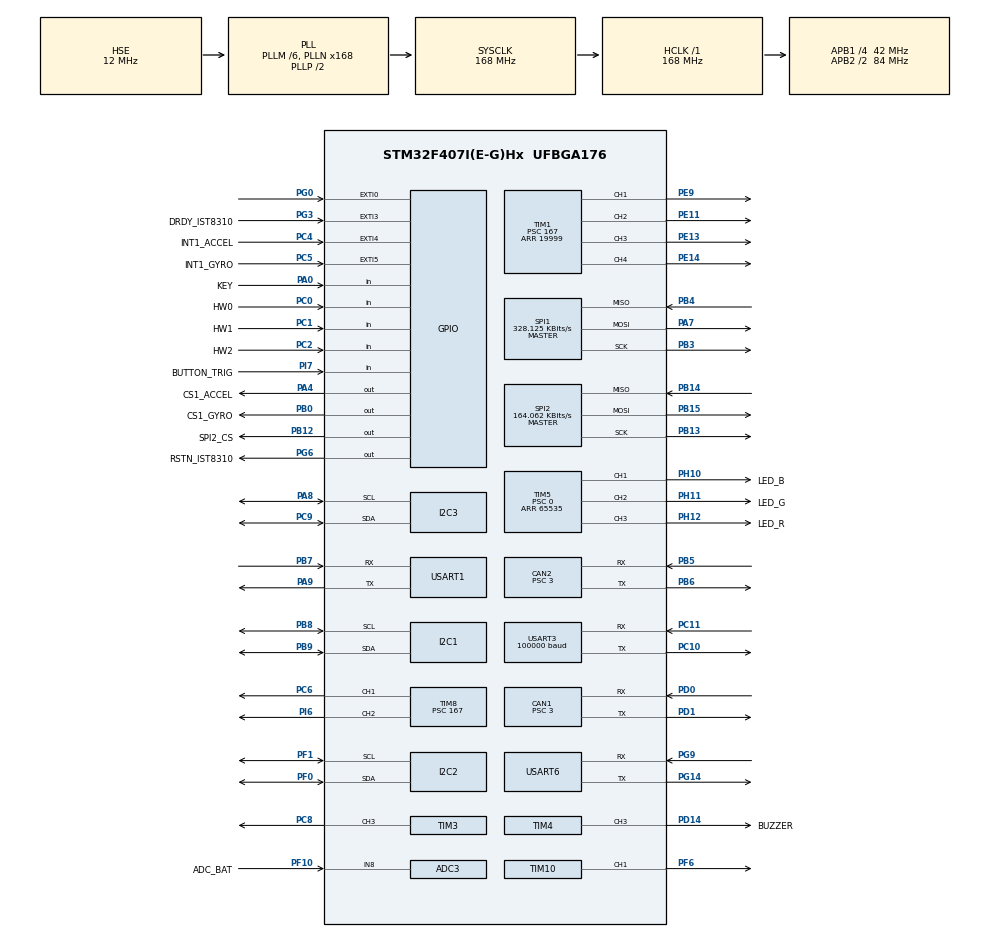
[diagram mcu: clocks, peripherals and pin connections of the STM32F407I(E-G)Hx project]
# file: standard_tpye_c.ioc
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ADC1.Channel-0\#ChannelRegularConversion=ADC_CHANNEL_TEMPSENSOR
ADC1.ClockPrescaler=ADC_CLOCK_SYNC_PCLK_DIV6
ADC1.NbrOfConversionFlag=1
ADC1.Rank-0\#ChannelRegularConversion=1
ADC1.SamplingTime-0\#ChannelRegularConversion=ADC_SAMPLETIME_3CYCLES
ADC1.master=1
ADC3.Channel-0\#ChannelRegularConversion=ADC_CHANNEL_8
ADC3.ClockPrescaler=ADC_CLOCK_SYNC_PCLK_DIV6
ADC3.NbrOfConversionFlag=1
ADC3.Rank-0\#ChannelRegularConversion=1
ADC3.SamplingTime-0\#ChannelRegularConversion=ADC_SAMPLETIME_3CYCLES
CAN1.BS1=CAN_BS1_10TQ
CAN1.BS2=CAN_BS2_3TQ
CAN1.CalculateBaudRate=1000000
CAN1.CalculateTimeBit=1000
CAN1.CalculateTimeQuantum=71.42857142857143
CAN1.Prescaler=3
CAN2.BS1=CAN_BS1_10TQ
CAN2.BS2=CAN_BS2_3TQ
CAN2.CalculateBaudRate=1000000
CAN2.CalculateTimeBit=1000
CAN2.CalculateTimeQuantum=71.42857142857143
CAN2.Prescaler=3
Dma.I2C2_TX.2.Direction=DMA_MEMORY_TO_PERIPH
Dma.I2C2_TX.2.FIFOMode=DMA_FIFOMODE_DISABLE
Dma.I2C2_TX.2.Instance=DMA1_Stream7
Dma.I2C2_TX.2.MemDataAlignment=DMA_MDATAALIGN_BYTE
Dma.I2C2_TX.2.MemInc=DMA_MINC_ENABLE
Dma.I2C2_TX.2.Mode=DMA_NORMAL
Dma.I2C2_TX.2.PeriphDataAlignment=DMA_PDATAALIGN_BYTE
Dma.I2C2_TX.2.PeriphInc=DMA_PINC_DISABLE
Dma.I2C2_TX.2.Priority=DMA_PRIORITY_HIGH
Dma.Request0=SPI1_RX
Dma.Request1=SPI1_TX
Dma.Request2=I2C2_TX
Dma.Request3=USART3_RX
Dma.Request4=USART6_RX
Dma.Request5=USART6_TX
Dma.Request6=USART1_TX
Dma.Request7=USART1_RX
Dma.SPI1_RX.0.Direction=DMA_PERIPH_TO_MEMORY
Dma.SPI1_RX.0.FIFOMode=DMA_FIFOMODE_DISABLE
Dma.SPI1_RX.0.Instance=DMA2_Stream2
Dma.SPI1_RX.0.MemDataAlignment=DMA_MDATAALIGN_BYTE
Dma.SPI1_RX.0.MemInc=DMA_MINC_ENABLE
Dma.SPI1_RX.0.Mode=DMA_NORMAL
Dma.SPI1_RX.0.PeriphDataAlignment=DMA_PDATAALIGN_BYTE
Dma.SPI1_RX.0.PeriphInc=DMA_PINC_DISABLE
Dma.SPI1_RX.0.Priority=DMA_PRIORITY_VERY_HIGH
Dma.SPI1_TX.1.Direction=DMA_MEMORY_TO_PERIPH
Dma.SPI1_TX.1.FIFOMode=DMA_FIFOMODE_DISABLE
Dma.SPI1_TX.1.Instance=DMA2_Stream3
Dma.SPI1_TX.1.MemDataAlignment=DMA_MDATAALIGN_BYTE
Dma.SPI1_TX.1.MemInc=DMA_MINC_ENABLE
Dma.SPI1_TX.1.Mode=DMA_NORMAL
Dma.SPI1_TX.1.PeriphDataAlignment=DMA_PDATAALIGN_BYTE
Dma.SPI1_TX.1.PeriphInc=DMA_PINC_DISABLE
Dma.SPI1_TX.1.Priority=DMA_PRIORITY_HIGH
Dma.USART1_RX.7.Direction=DMA_PERIPH_TO_MEMORY
Dma.USART1_RX.7.FIFOMode=DMA_FIFOMODE_DISABLE
Dma.USART1_RX.7.Instance=DMA2_Stream5
Dma.USART1_RX.7.MemDataAlignment=DMA_MDATAALIGN_BYTE
Dma.USART1_RX.7.MemInc=DMA_MINC_ENABLE
Dma.USART1_RX.7.Mode=DMA_NORMAL
Dma.USART1_RX.7.PeriphDataAlignment=DMA_PDATAALIGN_BYTE
Dma.USART1_RX.7.PeriphInc=DMA_PINC_DISABLE
Dma.USART1_RX.7.Priority=DMA_PRIORITY_HIGH
Dma.USART1_TX.6.Direction=DMA_MEMORY_TO_PERIPH
Dma.USART1_TX.6.FIFOMode=DMA_FIFOMODE_DISABLE
Dma.USART1_TX.6.Instance=DMA2_Stream7
Dma.USART1_TX.6.MemDataAlignment=DMA_MDATAALIGN_BYTE
Dma.USART1_TX.6.MemInc=DMA_MINC_ENABLE
Dma.USART1_TX.6.Mode=DMA_NORMAL
Dma.USART1_TX.6.PeriphDataAlignment=DMA_PDATAALIGN_BYTE
Dma.USART1_TX.6.PeriphInc=DMA_PINC_DISABLE
Dma.USART1_TX.6.Priority=DMA_PRIORITY_MEDIUM
Dma.USART3_RX.3.Direction=DMA_PERIPH_TO_MEMORY
Dma.USART3_RX.3.FIFOMode=DMA_FIFOMODE_DISABLE
Dma.USART3_RX.3.Instance=DMA1_Stream1
Dma.USART3_RX.3.MemDataAlignment=DMA_MDATAALIGN_BYTE
Dma.USART3_RX.3.MemInc=DMA_MINC_ENABLE
Dma.USART3_RX.3.Mode=DMA_NORMAL
Dma.USART3_RX.3.PeriphDataAlignment=DMA_PDATAALIGN_BYTE
Dma.USART3_RX.3.PeriphInc=DMA_PINC_DISABLE
Dma.USART3_RX.3.Priority=DMA_PRIORITY_HIGH
Dma.USART6_RX.4.Direction=DMA_PERIPH_TO_MEMORY
Dma.USART6_RX.4.FIFOMode=DMA_FIFOMODE_DISABLE
Dma.USART6_RX.4.Instance=DMA2_Stream1
Dma.USART6_RX.4.MemDataAlignment=DMA_MDATAALIGN_BYTE
Dma.USART6_RX.4.MemInc=DMA_MINC_ENABLE
Dma.USART6_RX.4.Mode=DMA_NORMAL
Dma.USART6_RX.4.PeriphDataAlignment=DMA_PDATAALIGN_BYTE
Dma.USART6_RX.4.PeriphInc=DMA_PINC_DISABLE
Dma.USART6_RX.4.Priority=DMA_PRIORITY_HIGH
Dma.USART6_TX.5.Direction=DMA_MEMORY_TO_PERIPH
Dma.USART6_TX.5.FIFOMode=DMA_FIFOMODE_DISABLE
Dma.USART6_TX.5.Instance=DMA2_Stream6
Dma.USART6_TX.5.MemDataAlignment=DMA_MDATAALIGN_BYTE
Dma.USART6_TX.5.MemInc=DMA_MINC_ENABLE
Dma.USART6_TX.5.Mode=DMA_NORMAL
Dma.USART6_TX.5.PeriphDataAlignment=DMA_PDATAALIGN_BYTE
Dma.USART6_TX.5.PeriphInc=DMA_PINC_DISABLE
Dma.USART6_TX.5.Priority=DMA_PRIORITY_MEDIUM
FREERTOS.INCLUDE_eTaskGetState=1
FREERTOS.INCLUDE_pcTaskGetTaskName=1
FREERTOS.INCLUDE_uxTaskGetStackHighWaterMark=1
FREERTOS.INCLUDE_vTaskCleanUpResources=1
FREERTOS.INCLUDE_vTaskDelayUntil=1
FREERTOS.INCLUDE_xEventGroupSetBitFromISR=1
FREERTOS.INCLUDE_xQueueGetMutexHolder=1
FREERTOS.INCLUDE_xSemaphoreGetMutexHolder=1
FREERTOS.INCLUDE_xTaskAbortDelay=1
FREERTOS.INCLUDE_xTaskGetCurrentTaskHandle=1
FREERTOS.INCLUDE_xTaskGetHandle=1
FREERTOS.INCLUDE_xTimerPendFunctionCall=1
FREERTOS.Tasks01=test,24,128,test_task,As weak,NULL,Dynamic,NULL,NULL
FREERTOS.configTOTAL_HEAP_SIZE=24576
I2C1.I2C_Mode=I2C_Fast
I2C2.I2C_Mode=I2C_Fast
I2C3.I2C_Mode=I2C_Fast
Mcu.Family=STM32F4
Mcu.Name=STM32F407I(E-G)Hx
Mcu.Package=UFBGA176
NVIC.CAN1_RX0_IRQn=true\:6\:0\:true\:false\:true\:true\:true\:true\:true
NVIC.CAN2_RX0_IRQn=true\:6\:0\:true\:false\:true\:true\:true\:true\:true
NVIC.DMA1_Stream1_IRQn=true\:5\:0\:true\:false\:false\:true\:false\:false\:true
NVIC.DMA1_Stream7_IRQn=true\:5\:0\:true\:false\:false\:true\:false\:true\:true
NVIC.DMA2_Stream1_IRQn=true\:5\:0\:true\:false\:true\:true\:false\:true\:true
NVIC.DMA2_Stream2_IRQn=true\:5\:0\:true\:false\:false\:true\:false\:true\:true
NVIC.DMA2_Stream3_IRQn=true\:5\:0\:true\:false\:false\:true\:false\:true\:true
NVIC.DMA2_Stream5_IRQn=true\:5\:0\:false\:false\:true\:true\:false\:true\:true
NVIC.DMA2_Stream6_IRQn=true\:5\:0\:true\:false\:true\:true\:false\:true\:true
NVIC.DMA2_Stream7_IRQn=true\:5\:0\:true\:false\:true\:true\:false\:true\:true
NVIC.EXTI0_IRQn=true\:6\:0\:true\:false\:true\:true\:true\:true\:true
NVIC.EXTI3_IRQn=true\:5\:0\:true\:false\:true\:true\:true\:true\:true
NVIC.EXTI4_IRQn=true\:5\:0\:true\:false\:true\:true\:true\:true\:true
NVIC.EXTI9_5_IRQn=true\:5\:0\:true\:false\:true\:true\:true\:true\:true
NVIC.PriorityGroup=NVIC_PRIORITYGROUP_4
NVIC.USART1_IRQn=true\:5\:0\:false\:false\:true\:true\:true\:true\:true
NVIC.USART3_IRQn=true\:4\:0\:true\:false\:false\:false\:true\:true\:true
NVIC.USART6_IRQn=true\:5\:0\:true\:false\:false\:true\:true\:true\:true
PA0-WKUP.GPIO_Label=KEY
PA0-WKUP.GPIO_PuPd=GPIO_PULLUP
PA0-WKUP.Signal=GPIO_Input
PA13.Mode=Serial_Wire
PA13.Signal=SYS_JTMS-SWDIO
PA14.Mode=Serial_Wire
PA14.Signal=SYS_JTCK-SWCLK
PA4.GPIO_Label=CS1_ACCEL
PA4.GPIO_PuPd=GPIO_PULLUP
PA4.GPIO_Speed=GPIO_SPEED_FREQ_HIGH
PA4.PinState=GPIO_PIN_SET
PA4.Signal=GPIO_Output
PA7.GPIO_PuPd=GPIO_PULLUP
PA7.Mode=Full_Duplex_Master
PA7.Signal=SPI1_MOSI
PA8.GPIO_Pu=GPIO_PULLUP
PA8.Mode=I2C
PA8.Signal=I2C3_SCL
PA9.Mode=Asynchronous
PA9.Signal=USART1_TX
PB0.GPIO_Label=CS1_GYRO
PB0.GPIO_PuPd=GPIO_PULLUP
PB0.GPIO_Speed=GPIO_SPEED_FREQ_HIGH
PB0.PinState=GPIO_PIN_SET
PB0.Signal=GPIO_Output
PB12.GPIO_Label=SPI2_CS
PB12.GPIO_PuPd=GPIO_PULLUP
PB12.GPIO_Speed=GPIO_SPEED_FREQ_MEDIUM
PB12.PinState=GPIO_PIN_SET
PB12.Signal=GPIO_Output
PB13.GPIO_PuPd=GPIO_PULLUP
PB13.Mode=Full_Duplex_Master
PB13.Signal=SPI2_SCK
PB14.GPIO_PuPd=GPIO_PULLUP
PB14.Mode=Full_Duplex_Master
PB14.Signal=SPI2_MISO
PB15.GPIO_PuPd=GPIO_PULLUP
PB15.Mode=Full_Duplex_Master
PB15.Signal=SPI2_MOSI
PB3.GPIO_PuPd=GPIO_PULLUP
PB3.Mode=Full_Duplex_Master
PB3.Signal=SPI1_SCK
PB4.GPIO_PuPd=GPIO_PULLUP
PB4.Mode=Full_Duplex_Master
PB4.Signal=SPI1_MISO
PB5.Mode=CAN_Activate
PB5.Signal=CAN2_RX
PB6.Mode=CAN_Activate
PB6.Signal=CAN2_TX
PB7.Mode=Asynchronous
PB7.Signal=USART1_RX
PB8.GPIO_Pu=GPIO_PULLUP
PB8.Mode=I2C
PB8.Signal=I2C1_SCL
PB9.GPIO_Pu=GPIO_PULLUP
PB9.Mode=I2C
PB9.Signal=I2C1_SDA
PC0.GPIO_Label=HW0
PC0.Signal=GPIO_Input
PC1.GPIO_Label=HW1
PC1.Signal=GPIO_Input
PC10.Mode=Asynchronous
PC10.Signal=USART3_TX
PC11.Mode=Asynchronous
PC11.Signal=USART3_RX
PC2.GPIO_Label=HW2
PC2.Signal=GPIO_Input
PC4.GPIO_Label=INT1_ACCEL
PC4.GPIO_ModeDefaultEXTI=GPIO_MODE_IT_FALLING
PC4.GPIO_PuPd=GPIO_PULLUP
PC4.Signal=GPXTI4
PC5.GPIO_Label=INT1_GYRO
PC5.GPIO_ModeDefaultEXTI=GPIO_MODE_IT_FALLING
PC5.GPIO_PuPd=GPIO_PULLUP
PC5.Signal=GPXTI5
PC6.GPIO_PuPd=GPIO_PULLUP
PC6.GPIO_Speed=GPIO_SPEED_FREQ_HIGH
PC6.Signal=S_TIM8_CH1
PC8.GPIO_PuPd=GPIO_PULLUP
PC8.GPIO_Speed=GPIO_SPEED_FREQ_HIGH
PC8.Signal=S_TIM3_CH3
PC9.GPIO_Pu=GPIO_PULLUP
PC9.Mode=I2C
PC9.Signal=I2C3_SDA
PD0.Mode=CAN_Activate
PD0.Signal=CAN1_RX
PD1.Mode=CAN_Activate
PD1.Signal=CAN1_TX
PD14.GPIO_Label=BUZZER
PD14.GPIO_PuPd=GPIO_PULLUP
PD14.GPIO_Speed=GPIO_SPEED_FREQ_VERY_HIGH
PD14.Signal=S_TIM4_CH3
PE11.GPIO_PuPd=GPIO_PULLUP
PE11.GPIO_Speed=GPIO_SPEED_FREQ_HIGH
PE11.Signal=S_TIM1_CH2
PE13.GPIO_PuPd=GPIO_PULLUP
PE13.GPIO_Speed=GPIO_SPEED_FREQ_HIGH
PE13.Signal=S_TIM1_CH3
PE14.GPIO_PuPd=GPIO_PULLUP
PE14.GPIO_Speed=GPIO_SPEED_FREQ_HIGH
PE14.Signal=S_TIM1_CH4
PE9.GPIO_PuPd=GPIO_PULLUP
PE9.GPIO_Speed=GPIO_SPEED_FREQ_HIGH
PE9.Signal=S_TIM1_CH1
PF0.GPIO_Pu=GPIO_PULLUP
PF0.Mode=I2C
PF0.Signal=I2C2_SDA
PF1.GPIO_Pu=GPIO_PULLUP
PF1.Mode=I2C
PF1.Signal=I2C2_SCL
PF10.GPIO_Label=ADC_BAT
PF10.Mode=IN8
PF10.Signal=ADC3_IN8
PF6.GPIO_PuPd=GPIO_PULLUP
PF6.GPIO_Speed=GPIO_SPEED_FREQ_HIGH
PF6.Signal=S_TIM10_CH1
PG0.GPIO_ModeDefaultEXTI=GPIO_MODE_IT_FALLING
PG0.GPIO_PuPd=GPIO_PULLUP
PG0.Signal=GPXTI0
PG14.Mode=Asynchronous
PG14.Signal=USART6_TX
PG3.GPIO_Label=DRDY_IST8310
PG3.GPIO_ModeDefaultEXTI=GPIO_MODE_IT_FALLING
PG3.GPIO_PuPd=GPIO_PULLUP
PG3.Signal=GPXTI3
PG6.GPIO_Label=RSTN_IST8310
PG6.GPIO_PuPd=GPIO_PULLUP
PG6.GPIO_Speed=GPIO_SPEED_FREQ_MEDIUM
PG6.PinState=GPIO_PIN_SET
PG6.Signal=GPIO_Output
PG9.Mode=Asynchronous
PG9.Signal=USART6_RX
PH0-OSC_IN.Mode=HSE-External-Oscillator
PH0-OSC_IN.Signal=RCC_OSC_IN
PH1-OSC_OUT.Mode=HSE-External-Oscillator
PH1-OSC_OUT.Signal=RCC_OSC_OUT
PH10.GPIO_Label=LED_B
PH10.GPIO_PuPd=GPIO_PULLUP
PH10.GPIO_Speed=GPIO_SPEED_FREQ_HIGH
PH10.Signal=S_TIM5_CH1
PH11.GPIO_Label=LED_G
PH11.GPIO_PuPd=GPIO_PULLUP
PH11.GPIO_Speed=GPIO_SPEED_FREQ_HIGH
PH11.Signal=S_TIM5_CH2
PH12.GPIO_Label=LED_R
PH12.GPIO_PuPd=GPIO_PULLUP
PH12.GPIO_Speed=GPIO_SPEED_FREQ_HIGH
PH12.Signal=S_TIM5_CH3
PI6.GPIO_PuPd=GPIO_PULLUP
PI6.GPIO_Speed=GPIO_SPEED_FREQ_HIGH
PI6.Signal=S_TIM8_CH2
PI7.GPIO_Label=BUTTON_TRIG
PI7.GPIO_PuPd=GPIO_PULLUP
PI7.Signal=GPIO_Input
ProjectManager.HeapSize=0x2000
ProjectManager.StackSize=0x2000
ProjectManager.TargetToolchain=MDK-ARM V5
RCC.48MHZClocksFreq_Value=48000000
RCC.AHBFreq_Value=168000000
RCC.APB1CLKDivider=RCC_HCLK_DIV4
RCC.APB1Freq_Value=42000000
RCC.APB1TimFreq_Value=84000000
RCC.APB2CLKDivider=RCC_HCLK_DIV2
RCC.APB2Freq_Value=84000000
RCC.APB2TimFreq_Value=168000000
RCC.CortexFreq_Value=168000000
RCC.HCLKFreq_Value=168000000
RCC.HSE_VALUE=12000000
RCC.HSI_VALUE=16000000
RCC.LSE_VALUE=32768
RCC.PLLM=6
RCC.PLLN=168
RCC.PLLQ=7
RCC.PLLSourceVirtual=RCC_PLLSOURCE_HSE
RCC.RCC_RTC_Clock_SourceVirtual=RCC_RTCCLKSOURCE_HSE_DIV30
RCC.RCC_RTC_Clock_Source_FROM_HSE=RCC_RTCCLKSOURCE_HSE_DIV30
RCC.SYSCLKFreq_VALUE=168000000
RCC.SYSCLKSource=RCC_SYSCLKSOURCE_PLLCLK
RCC.VCOOutputFreq_Value=336000000
RTC.AsynchPrediv=124
RTC.SynchPrediv=3199
SH.S_TIM10_CH1.0=TIM10_CH1,PWM Generation1 CH1
SH.S_TIM1_CH1.0=TIM1_CH1,PWM Generation1 CH1
SH.S_TIM1_CH2.0=TIM1_CH2,PWM Generation2 CH2
SH.S_TIM1_CH3.0=TIM1_CH3,PWM Generation3 CH3
SH.S_TIM1_CH4.0=TIM1_CH4,PWM Generation4 CH4
SH.S_TIM3_CH3.0=TIM3_CH3,PWM Generation3 CH3
SH.S_TIM4_CH3.0=TIM4_CH3,PWM Generation3 CH3
SH.S_TIM5_CH1.0=TIM5_CH1,PWM Generation1 CH1
SH.S_TIM5_CH2.0=TIM5_CH2,PWM Generation2 CH2
SH.S_TIM5_CH3.0=TIM5_CH3,PWM Generation3 CH3
SH.S_TIM8_CH1.0=TIM8_CH1,PWM Generation1 CH1
SH.S_TIM8_CH2.0=TIM8_CH2,PWM Generation2 CH2
SPI1.BaudRatePrescaler=SPI_BAUDRATEPRESCALER_256
SPI1.CLKPhase=SPI_PHASE_2EDGE
SPI1.CLKPolarity=SPI_POLARITY_HIGH
SPI1.CalculateBaudRate=328.125 KBits/s
SPI1.Direction=SPI_DIRECTION_2LINES
SPI1.Mode=SPI_MODE_MASTER
SPI1.VirtualType=VM_MASTER
SPI2.BaudRatePrescaler=SPI_BAUDRATEPRESCALER_256
SPI2.CLKPhase=SPI_PHASE_2EDGE
SPI2.CLKPolarity=SPI_POLARITY_HIGH
SPI2.CalculateBaudRate=164.062 KBits/s
SPI2.Direction=SPI_DIRECTION_2LINES
SPI2.Mode=SPI_MODE_MASTER
SPI2.VirtualType=VM_MASTER
TIM1.Channel-PWM\ Generation1\ CH1=TIM_CHANNEL_1
TIM1.Channel-PWM\ Generation2\ CH2=TIM_CHANNEL_2
TIM1.Channel-PWM\ Generation3\ CH3=TIM_CHANNEL_3
TIM1.Channel-PWM\ Generation4\ CH4=TIM_CHANNEL_4
TIM1.Period=19999
TIM1.Prescaler=167
TIM1.Pulse-PWM\ Generation1\ CH1=1000
TIM1.Pulse-PWM\ Generation2\ CH2=1000
TIM1.Pulse-PWM\ Generation3\ CH3=1000
TIM1.Pulse-PWM\ Generation4\ CH4=1000
TIM10.Channel=TIM_CHANNEL_1
TIM10.Period=4999
TIM3.Channel-PWM\ Generation3\ CH3=TIM_CHANNEL_3
TIM3.Period=8399
TIM4.Channel-PWM\ Generation3\ CH3=TIM_CHANNEL_3
TIM4.Period=65535
TIM4.Prescaler=167
TIM5.Channel-PWM\ Generation1\ CH1=TIM_CHANNEL_1
TIM5.Channel-PWM\ Generation2\ CH2=TIM_CHANNEL_2
TIM5.Channel-PWM\ Generation3\ CH3=TIM_CHANNEL_3
TIM5.Period=65535
TIM5.Prescaler=0
TIM8.Channel-PWM\ Generation1\ CH1=TIM_CHANNEL_1
TIM8.Channel-PWM\ Generation2\ CH2=TIM_CHANNEL_2
TIM8.Period=19999
TIM8.Prescaler=167
TIM8.Pulse-PWM\ Generation1\ CH1=1000
TIM8.Pulse-PWM\ Generation2\ CH2=1000
USART1.VirtualMode=VM_ASYNC
USART3.BaudRate=100000
USART3.Parity=PARITY_EVEN
USART3.VirtualMode=VM_ASYNC
USART6.VirtualMode=VM_ASYNC
VP_ADC1_TempSens_Input.Mode=IN-TempSens
VP_ADC1_Vref_Input.Mode=IN-Vrefint
VP_CRC_VS_CRC.Mode=CRC_Activate
VP_FREERTOS_VS_CMSIS_V1.Mode=CMSIS_V1
VP_RNG_VS_RNG.Mode=RNG_Activate
VP_RTC_VS_RTC_Activate.Mode=RTC_Enabled
VP_TIM10_VS_ClockSourceINT.Mode=Enable_Timer
VP_TIM1_VS_ClockSourceINT.Mode=Internal
VP_TIM3_VS_ClockSourceINT.Mode=Internal
VP_TIM4_VS_ClockSourceINT.Mode=Internal
VP_TIM5_VS_ClockSourceINT.Mode=Internal
VP_TIM8_VS_ClockSourceINT.Mode=Internal
board=custom

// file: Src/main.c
/* USER CODE BEGIN Header */
/**
  ******************************************************************************
  * @file           : main.c
  * @brief          : Main program body
  ******************************************************************************
  * @attention
  *
  * Copyright (c) 2023 STMicroelectronics.
  * All rights reserved.
  *
  * This software is licensed under terms that can be found in the LICENSE file
  * in the root directory of this software component.
  * If no LICENSE file comes with this software, it is provided AS-IS.
  *
  ******************************************************************************
  */
/* USER CODE END Header */
#include "main.h"
#include "cmsis_os.h"
#include "adc.h"
#include "can.h"
#include "crc.h"
#include "dma.h"
#include "i2c.h"
#include "rng.h"
#include "rtc.h"
#include "spi.h"
#include "tim.h"
#include "usart.h"
#include "gpio.h"

/* USER CODE BEGIN Includes */
#include "bsp_can.h"
#include "bsp_delay.h"

/* USER CODE END Includes */

void SystemClock_Config(void);
void MX_FREERTOS_Init(void);

int main(void)
{

  /* MCU Configuration--------------------------------------------------------*/

  /* Reset of all peripherals, Initializes the Flash interface and the Systick. */
  HAL_Init();

  /* Configure the system clock */
  SystemClock_Config();

  /* Initialize all configured peripherals */
  MX_GPIO_Init();
  MX_DMA_Init();
  MX_ADC1_Init();
  MX_ADC3_Init();
  MX_CAN1_Init();
  MX_CAN2_Init();
  MX_I2C1_Init();
  MX_SPI1_Init();
  MX_TIM4_Init();
  MX_TIM5_Init();
  MX_USART3_UART_Init();
  MX_TIM8_Init();
  MX_CRC_Init();
  MX_RNG_Init();
  MX_I2C2_Init();
  MX_I2C3_Init();
  MX_RTC_Init();
  MX_SPI2_Init();
  MX_TIM1_Init();
  MX_TIM3_Init();
  MX_TIM10_Init();
  MX_USART1_UART_Init();
  MX_USART6_UART_Init();
  /* USER CODE BEGIN 2 */
	can_filter_init();
	delay_init();
  remote_control_init();

  /* USER CODE END 2 */

  /* Call init function for freertos objects (in freertos.c) */
  MX_FREERTOS_Init();

  /* Start scheduler */
  osKernelStart();

  /* We should never get here as control is now taken by the scheduler */
  /* Infinite loop */
  while (1)
  {

  }
}

void SystemClock_Config(void)
{
  RCC_OscInitTypeDef RCC_OscInitStruct = {0};
  RCC_ClkInitTypeDef RCC_ClkInitStruct = {0};

  /** Configure the main internal regulator output voltage
  */
  __HAL_RCC_PWR_CLK_ENABLE();
  __HAL_PWR_VOLTAGESCALING_CONFIG(PWR_REGULATOR_VOLTAGE_SCALE1);

  /** Initializes the RCC Oscillators according to the specified parameters
  * in the RCC_OscInitTypeDef structure.
  */
  RCC_OscInitStruct.OscillatorType = RCC_OSCILLATORTYPE_HSE;
  RCC_OscInitStruct.HSEState = RCC_HSE_ON;
  RCC_OscInitStruct.PLL.PLLState = RCC_PLL_ON;
  RCC_OscInitStruct.PLL.PLLSource = RCC_PLLSOURCE_HSE;
  RCC_OscInitStruct.PLL.PLLM = 6;
  RCC_OscInitStruct.PLL.PLLN = 168;
  RCC_OscInitStruct.PLL.PLLP = RCC_PLLP_DIV2;
  RCC_OscInitStruct.PLL.PLLQ = 7;
  if (HAL_RCC_OscConfig(&RCC_OscInitStruct) != HAL_OK)
  {
    Error_Handler();
  }

  /** Initializes the CPU, AHB and APB buses clocks
  */
  RCC_ClkInitStruct.ClockType = RCC_CLOCKTYPE_HCLK|RCC_CLOCKTYPE_SYSCLK
                              |RCC_CLOCKTYPE_PCLK1|RCC_CLOCKTYPE_PCLK2;
  RCC_ClkInitStruct.SYSCLKSource = RCC_SYSCLKSOURCE_PLLCLK;
  RCC_ClkInitStruct.AHBCLKDivider = RCC_SYSCLK_DIV1;
  RCC_ClkInitStruct.APB1CLKDivider = RCC_HCLK_DIV4;
  RCC_ClkInitStruct.APB2CLKDivider = RCC_HCLK_DIV2;

  if (HAL_RCC_ClockConfig(&RCC_ClkInitStruct, FLASH_LATENCY_5) != HAL_OK)
  {
    Error_Handler();
  }
}

void Error_Handler(void)
{
  __disable_irq();
  while (1)
  {
  }
}

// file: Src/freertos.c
/* USER CODE BEGIN Header */
/**
  ******************************************************************************
  * File Name          : freertos.c
  * Description        : Code for freertos applications
  ******************************************************************************
  * @attention
  *
  * Copyright (c) 2023 STMicroelectronics.
  * All rights reserved.
  *
  * This software is licensed under terms that can be found in the LICENSE file
  * in the root directory of this software component.
  * If no LICENSE file comes with this software, it is provided AS-IS.
  *
  ******************************************************************************
  */
/* USER CODE END Header */

#include "FreeRTOS.h"
#include "task.h"
#include "main.h"
#include "cmsis_os.h"

/* USER CODE BEGIN Includes */
#include "chassis_task.h"
#include "gimbal_task.h"
#include "INS_task.h"
#include "referee_task.h"
#include "shoot.h"
/* USER CODE END Includes */

/* USER CODE BEGIN PTD */
osThreadId chassisTaskHandle;
osThreadId imuTaskHandle;
osThreadId gimbalTaskHandle;
osThreadId referee_usart_task_handle;
osThreadId shootTaskHandle;

/* USER CODE END PTD */

osThreadId testHandle;

void test_task(void const * argument);

void MX_FREERTOS_Init(void); /* (MISRA C 2004 rule 8.1) */

/* GetIdleTaskMemory prototype (linked to static allocation support) */
void vApplicationGetIdleTaskMemory( StaticTask_t **ppxIdleTaskTCBBuffer, StackType_t **ppxIdleTaskStackBuffer, uint32_t *pulIdleTaskStackSize );

/* GetTimerTaskMemory prototype (linked to static allocation support) */
void vApplicationGetTimerTaskMemory( StaticTask_t **ppxTimerTaskTCBBuffer, StackType_t **ppxTimerTaskStackBuffer, uint32_t *pulTimerTaskStackSize );

/* USER CODE BEGIN GET_IDLE_TASK_MEMORY */
static StaticTask_t xIdleTaskTCBBuffer;
static StackType_t xIdleStack[configMINIMAL_STACK_SIZE];

void vApplicationGetIdleTaskMemory( StaticTask_t **ppxIdleTaskTCBBuffer, StackType_t **ppxIdleTaskStackBuffer, uint32_t *pulIdleTaskStackSize )
{
  *ppxIdleTaskTCBBuffer = &xIdleTaskTCBBuffer;
  *ppxIdleTaskStackBuffer = &xIdleStack[0];
  *pulIdleTaskStackSize = configMINIMAL_STACK_SIZE;
  /* place for user code */
}
/* USER CODE END GET_IDLE_TASK_MEMORY */

/* USER CODE BEGIN GET_TIMER_TASK_MEMORY */
static StaticTask_t xTimerTaskTCBBuffer;
static StackType_t xTimerStack[configTIMER_TASK_STACK_DEPTH];

void vApplicationGetTimerTaskMemory( StaticTask_t **ppxTimerTaskTCBBuffer, StackType_t **ppxTimerTaskStackBuffer, uint32_t *pulTimerTaskStackSize )
{
  *ppxTimerTaskTCBBuffer = &xTimerTaskTCBBuffer;
  *ppxTimerTaskStackBuffer = &xTimerStack[0];
  *pulTimerTaskStackSize = configTIMER_TASK_STACK_DEPTH;
  /* place for user code */
}
/* USER CODE END GET_TIMER_TASK_MEMORY */

void MX_FREERTOS_Init(void) {

  /* Create the thread(s) */
  /* definition and creation of test */
  osThreadDef(test, test_task, osPriorityNormal, 0, 128);
  testHandle = osThreadCreate(osThread(test), NULL);

  /* USER CODE BEGIN RTOS_THREADS */
  /* add threads, ... */

		osThreadDef(imuTask, INS_task, osPriorityRealtime, 0, 1024);
    imuTaskHandle = osThreadCreate(osThread(imuTask), NULL);

		osThreadDef(ChassisTask, chassis_task, osPriorityAboveNormal, 0, 512);
		chassisTaskHandle = osThreadCreate(osThread(ChassisTask), NULL);

	  osThreadDef(gimbalTask, gimbal_task, osPriorityHigh, 0, 512);
    gimbalTaskHandle = osThreadCreate(osThread(gimbalTask), NULL);

		    osThreadDef(shootTask, shoot_task, osPriorityHigh, 0, 512);
    shootTaskHandle = osThreadCreate(osThread(shootTask), NULL);

		osThreadDef(REFEREE, referee_usart_task, osPriorityNormal, 0, 128);
    referee_usart_task_handle = osThreadCreate(osThread(REFEREE), NULL);

  /* USER CODE END RTOS_THREADS */

}

__weak void test_task(void const * argument)
{
  for(;;)
  {
    osDelay(1);
  }
}
